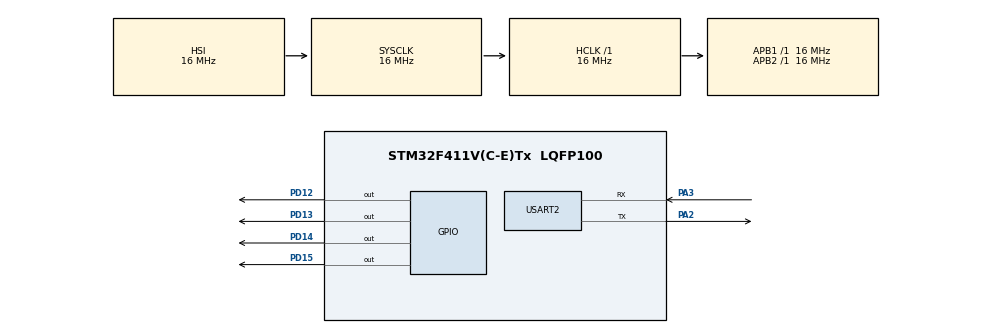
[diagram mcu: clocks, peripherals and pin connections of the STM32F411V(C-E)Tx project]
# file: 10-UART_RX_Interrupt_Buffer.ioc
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Mcu.Family=STM32F4
Mcu.Name=STM32F411V(C-E)Tx
Mcu.Package=LQFP100
NVIC.PriorityGroup=NVIC_PRIORITYGROUP_4
PA2.Mode=Asynchronous
PA2.Signal=USART2_TX
PA3.Mode=Asynchronous
PA3.Signal=USART2_RX
PD12.Signal=GPIO_Output
PD13.Signal=GPIO_Output
PD14.Signal=GPIO_Output
PD15.Signal=GPIO_Output
ProjectManager.HeapSize=0x200
ProjectManager.StackSize=0x400
ProjectManager.TargetToolchain=STM32CubeIDE
RCC.AHBFreq_Value=16000000
RCC.APB1Freq_Value=16000000
RCC.APB2Freq_Value=16000000
RCC.CortexFreq_Value=16000000
RCC.HSE_VALUE=25000000
RCC.HSI_VALUE=16000000
RCC.LSE_VALUE=32768
RCC.SYSCLKFreq_VALUE=16000000
RCC.VCOOutputFreq_Value=192000000
USART2.VirtualMode=VM_ASYNC
board=custom

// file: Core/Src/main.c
/* USER CODE BEGIN Header */
/*
 		    			BILAL HABES AKCAM
	          	           12.12.2022

	  ### UART UZERINDEN GIRILEN KOMUT DIZILERI ILE UYGULAMA ###

"LEDIYAK": Mavi LED'i Yakar, "LEDISON: LED(ler)'i Sondurur, "LEDLOOP":
Kart Uzerindeki Tum Ledleri Loop Olusturacak Sekilde Yakar ve Sondurur.
Harici Bir Komut Girilirse Terminal Ekrandan Kullaniciya Hata Bildirilir.
Komutlar Terminal Programindan Gririlmelidir.

UartInterruptDriver.c Dosyasi Icersinde Oncelikle Uarrt Kesmesi Aktif Edilir.
Kullanici Tarafindan Her Bir Veri Girildiginde Sistem Kesmeya Girer.
7 Elemanli Komut Dizisi Sisteme Girildiginde Kesme Icersinde dataFlag 1 Yapilir
ve main Kod'da Dizi Sonu Karakteri Eklenerek RxBuffer Verisi Karsilastirmalara Tabi Tutulur.

*/
/* USER CODE END Header */
#include "main.h"

/* USER CODE BEGIN Includes */
#include "UartInterruptDriver.h"

/* USER CODE END Includes */

UART_HandleTypeDef huart2;

/* USER CODE BEGIN PV */
extern volatile char  RxBuffer[20];
extern volatile int8_t dataFlag;
volatile uint8_t i =0;
char feedBack[] = "\nYanlis Giris Yaptiniz\n";

/* USER CODE END PV */

void SystemClock_Config(void);
static void MX_GPIO_Init(void);
static void MX_USART2_UART_Init(void);

int main(void)
{

  /* MCU Configuration--------------------------------------------------------*/

  /* Reset of all peripherals, Initializes the Flash interface and the Systick. */
  HAL_Init();

  /* Configure the system clock */
  SystemClock_Config();

  /* Initialize all configured peripherals */
  MX_GPIO_Init();
  MX_USART2_UART_Init();
  /* USER CODE BEGIN 2 */
  UartInterruptInit();

  /* USER CODE END 2 */

  /* Infinite loop */
  while (1)
  {

    /* USER CODE BEGIN 3 */

		if (dataFlag) {
				dataFlag = 0;

				RxBuffer[7] = '\0';

				if (strcmp("LEDIYAK", (char*) RxBuffer) == 0) {

					GPIOD->ODR |= (1 << 15);
				} else if (strcmp("LEDISON", (char*) RxBuffer) == 0) {
					for (i = 0; i <= 3; i++) {

						GPIOD->ODR &= ~(1 << (15 - i));

					}
				} else if (strcmp("LEDLERI", (char*) RxBuffer) == 0) {
					for (i = 0; i <= 3; i++) {

						GPIOD->ODR |= (1 << (15 - i));

					}
				} else if (strcmp("LEDLOOP", (char*) RxBuffer) == 0) {
					for (i = 0; i <= 3; i++) {

						GPIOD->ODR |= (1 << (15 - i));
						HAL_Delay(75);
					}

					for (i = 0; i <= 3; i++) {

						GPIOD->ODR &= ~(1 << (15 - i));
						HAL_Delay(75);
					}

				} else {
					HAL_UART_Transmit(&huart2, feedBack, sizeof(feedBack), 100);
					HAL_Delay(200);

				}

			}

	  }

  /* USER CODE END 3 */
}

void SystemClock_Config(void)
{
  RCC_OscInitTypeDef RCC_OscInitStruct = {0};
  RCC_ClkInitTypeDef RCC_ClkInitStruct = {0};

  /** Configure the main internal regulator output voltage
  */
  __HAL_RCC_PWR_CLK_ENABLE();
  __HAL_PWR_VOLTAGESCALING_CONFIG(PWR_REGULATOR_VOLTAGE_SCALE1);

  /** Initializes the RCC Oscillators according to the specified parameters
  * in the RCC_OscInitTypeDef structure.
  */
  RCC_OscInitStruct.OscillatorType = RCC_OSCILLATORTYPE_HSI;
  RCC_OscInitStruct.HSIState = RCC_HSI_ON;
  RCC_OscInitStruct.HSICalibrationValue = RCC_HSICALIBRATION_DEFAULT;
  RCC_OscInitStruct.PLL.PLLState = RCC_PLL_NONE;
  if (HAL_RCC_OscConfig(&RCC_OscInitStruct) != HAL_OK)
  {
    Error_Handler();
  }

  /** Initializes the CPU, AHB and APB buses clocks
  */
  RCC_ClkInitStruct.ClockType = RCC_CLOCKTYPE_HCLK|RCC_CLOCKTYPE_SYSCLK
                              |RCC_CLOCKTYPE_PCLK1|RCC_CLOCKTYPE_PCLK2;
  RCC_ClkInitStruct.SYSCLKSource = RCC_SYSCLKSOURCE_HSI;
  RCC_ClkInitStruct.AHBCLKDivider = RCC_SYSCLK_DIV1;
  RCC_ClkInitStruct.APB1CLKDivider = RCC_HCLK_DIV1;
  RCC_ClkInitStruct.APB2CLKDivider = RCC_HCLK_DIV1;

  if (HAL_RCC_ClockConfig(&RCC_ClkInitStruct, FLASH_LATENCY_0) != HAL_OK)
  {
    Error_Handler();
  }
}

static void MX_USART2_UART_Init(void)
{

  huart2.Instance = USART2;
  huart2.Init.BaudRate = 115200;
  huart2.Init.WordLength = UART_WORDLENGTH_8B;
  huart2.Init.StopBits = UART_STOPBITS_1;
  huart2.Init.Parity = UART_PARITY_NONE;
  huart2.Init.Mode = UART_MODE_TX_RX;
  huart2.Init.HwFlowCtl = UART_HWCONTROL_NONE;
  huart2.Init.OverSampling = UART_OVERSAMPLING_16;
  if (HAL_UART_Init(&huart2) != HAL_OK)
  {
    Error_Handler();
  }

}

static void MX_GPIO_Init(void)
{
  GPIO_InitTypeDef GPIO_InitStruct = {0};

  /* GPIO Ports Clock Enable */
  __HAL_RCC_GPIOA_CLK_ENABLE();
  __HAL_RCC_GPIOD_CLK_ENABLE();

  /*Configure GPIO pin Output Level */
  HAL_GPIO_WritePin(GPIOD, GPIO_PIN_12|GPIO_PIN_13|GPIO_PIN_14|GPIO_PIN_15, GPIO_PIN_RESET);

  /*Configure GPIO pins : PD12 PD13 PD14 PD15 */
  GPIO_InitStruct.Pin = GPIO_PIN_12|GPIO_PIN_13|GPIO_PIN_14|GPIO_PIN_15;
  GPIO_InitStruct.Mode = GPIO_MODE_OUTPUT_PP;
  GPIO_InitStruct.Pull = GPIO_NOPULL;
  GPIO_InitStruct.Speed = GPIO_SPEED_FREQ_LOW;
  HAL_GPIO_Init(GPIOD, &GPIO_InitStruct);

}

void Error_Handler(void)
{
  __disable_irq();
  while (1)
  {
  }
}
